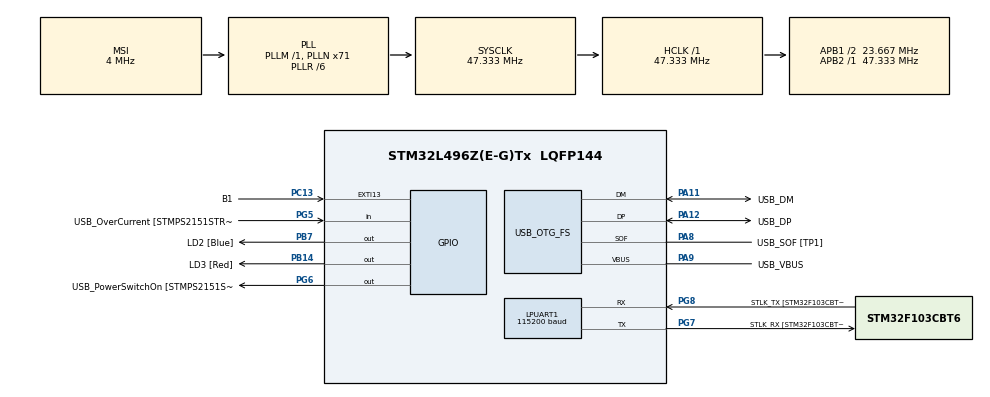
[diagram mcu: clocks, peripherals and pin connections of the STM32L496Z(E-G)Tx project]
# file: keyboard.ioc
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LPUART1.BaudRate=115200
LPUART1.WordLength=UART_WORDLENGTH_8B
Mcu.Family=STM32L4
Mcu.Name=STM32L496Z(E-G)Tx
Mcu.Package=LQFP144
NVIC.EXTI15_10_IRQn=true\:0\:0\:false\:false\:true\:true\:true
NVIC.LPUART1_IRQn=true\:0\:0\:false\:false\:true\:true\:true
NVIC.OTG_FS_IRQn=true\:0\:0\:false\:false\:true\:false\:true
NVIC.PriorityGroup=NVIC_PRIORITYGROUP_4
PA10.GPIO_Label=USB_ID
PA10.Signal=USB_OTG_FS_ID
PA11.GPIO_Label=USB_DM
PA11.Mode=Host_Only
PA11.Signal=USB_OTG_FS_DM
PA12.GPIO_Label=USB_DP
PA12.Mode=Host_Only
PA12.Signal=USB_OTG_FS_DP
PA13\ (JTMS/SWDIO).GPIO_Label=TMS
PA13\ (JTMS/SWDIO).Mode=Trace_Asynchronous_SW
PA13\ (JTMS/SWDIO).Signal=SYS_JTMS-SWDIO
PA14\ (JTCK/SWCLK).GPIO_Label=TCK
PA14\ (JTCK/SWCLK).Mode=Trace_Asynchronous_SW
PA14\ (JTCK/SWCLK).Signal=SYS_JTCK-SWCLK
PA8.GPIO_Label=USB_SOF [TP1]
PA8.Mode=Activate_SOF_FS
PA8.Signal=USB_OTG_FS_SOF
PA9.GPIO_Label=USB_VBUS
PA9.Mode=Activate_VBUS
PA9.Signal=USB_OTG_FS_VBUS
PB14.GPIO_Label=LD3 [Red]
PB14.Signal=GPIO_Output
PB3\ (JTDO/TRACESWO).GPIO_Label=SWO
PB3\ (JTDO/TRACESWO).Mode=Trace_Asynchronous_SW
PB3\ (JTDO/TRACESWO).Signal=SYS_JTDO-SWO
PB7.GPIO_Label=LD2 [Blue]
PB7.Signal=GPIO_Output
PC13.GPIO_Label=B1
PC13.Signal=GPXTI13
PC14-OSC32_IN\ (PC14).Mode=LSE-External-Oscillator
PC14-OSC32_IN\ (PC14).Signal=RCC_OSC32_IN
PC15-OSC32_OUT\ (PC15).Mode=LSE-External-Oscillator
PC15-OSC32_OUT\ (PC15).Signal=RCC_OSC32_OUT
PG5.GPIO_Label=USB_OverCurrent [STMPS2151STR_FAULT]
PG5.Signal=GPIO_Input
PG6.GPIO_Label=USB_PowerSwitchOn [STMPS2151STR_EN]
PG6.Signal=GPIO_Output
PG7.GPIO_Label=STLK_RX [STM32F103CBT6_PA3]
PG7.Mode=Asynchronous
PG7.Signal=LPUART1_TX
PG8.GPIO_Label=STLK_TX [STM32F103CBT6_PA2]
PG8.Mode=Asynchronous
PG8.Signal=LPUART1_RX
PH1-OSC_OUT\ (PH1).Signal=RCC_OSC_OUT
ProjectManager.HeapSize=0x200
ProjectManager.StackSize=0x400
ProjectManager.TargetToolchain=STM32CubeIDE
RCC.48MHZClocksFreq_Value=24000000
RCC.ADCFreq_Value=48000000
RCC.AHBFreq_Value=47333333.333333336
RCC.APB1CLKDivider=RCC_HCLK_DIV2
RCC.APB1Freq_Value=23666666.666666668
RCC.APB1TimFreq_Value=47333333.333333336
RCC.APB2Freq_Value=47333333.333333336
RCC.APB2TimFreq_Value=47333333.333333336
RCC.CortexFreq_Value=47333333.333333336
RCC.HCLKFreq_Value=47333333.333333336
RCC.HSE_VALUE=8000000
RCC.HSI48_VALUE=48000000
RCC.HSI_VALUE=16000000
RCC.MSI_VALUE=4000000
RCC.PLLMUL=RCC_PLL_MUL9
RCC.PLLN=71
RCC.PLLR=RCC_PLLR_DIV6
RCC.PLLSAI1N=24
RCC.PRESCALERUSB=RCC_USBCLKSOURCE_PLL_DIV1_5
RCC.SYSCLKFreq_VALUE=47333333.333333336
RCC.SYSCLKSource=RCC_SYSCLKSOURCE_PLLCLK
RCC.SYSCLKSourceVirtual=RCC_SYSCLKSOURCE_PLLCLK
RCC.USBFreq_Value=48000000
RCC.VCOOutputFreq_Value=284000000
USB_HOST.BSP.number=1
USB_HOST.USBH_DEBUG_LEVEL=3
USB_HOST.USBH_HandleTypeDef=hUsbHostFS
USB_HOST.VirtualModeFS=Hid
USB_HOST0.BSP.STBoard=false
USB_HOST0.BSP.api=Unknown
USB_HOST0.BSP.i2caddr=0
USB_HOST0.BSP.instance=PG6
USB_HOST0.BSP.ip=GPIO
USB_HOST0.BSP.mode=Output
USB_HOST0.BSP.name=Drive_VBUS_FS
USB_HOST0.BSP.solution=PG6
USB_OTG_FS.VirtualMode=Host_Only
USB_OTG_FS.phy_itface=HCD_PHY_EMBEDDED
VP_USB_HOST_VS_USB_HOST_HID_FS.Mode=HID_FS
board=NUCLEO-L496ZG

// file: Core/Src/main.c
/* USER CODE BEGIN Header */
/**
  ******************************************************************************
  * @file           : main.c
  * @brief          : Main program body
  ******************************************************************************
  * @attention
  *
  * <h2><center>&copy; Copyright (c) 2020 STMicroelectronics.
  * All rights reserved.</center></h2>
  *
  * This software component is licensed by ST under BSD 3-Clause license,
  * the "License"; You may not use this file except in compliance with the
  * License. You may obtain a copy of the License at:
  *                        opensource.org/licenses/BSD-3-Clause
  *
  ******************************************************************************
  */
/* USER CODE END Header */
#include "main.h"
#include "usb_host.h"

/* USER CODE BEGIN Includes */
#include <stdio.h>
#include <ctype.h>
#include "retarget.h"
#include "usbh_def.h"
#include "usbh_hid.h"
/* USER CODE END Includes */

UART_HandleTypeDef hlpuart1;

void SystemClock_Config(void);
static void MX_GPIO_Init(void);
static void MX_LPUART1_UART_Init(void);
void MX_USB_HOST_Process(void);

int main(void)
{

  /* MCU Configuration--------------------------------------------------------*/

  /* Reset of all peripherals, Initializes the Flash interface and the Systick. */
  HAL_Init();

  /* Configure the system clock */
  SystemClock_Config();

  /* Initialize all configured peripherals */
  MX_GPIO_Init();
  MX_LPUART1_UART_Init();
  MX_USB_HOST_Init();
  /* USER CODE BEGIN 2 */
  RetargetInit(&hlpuart1);
  printf("all initialized\n");
  /* USER CODE END 2 */

  /* Infinite loop */
  while (1)
  {
    MX_USB_HOST_Process();

  }
}

void SystemClock_Config(void)
{
  RCC_OscInitTypeDef RCC_OscInitStruct = {0};
  RCC_ClkInitTypeDef RCC_ClkInitStruct = {0};
  RCC_PeriphCLKInitTypeDef PeriphClkInit = {0};

  /** Configure LSE Drive Capability
  */
  HAL_PWR_EnableBkUpAccess();
  __HAL_RCC_LSEDRIVE_CONFIG(RCC_LSEDRIVE_LOW);
  /** Initializes the RCC Oscillators according to the specified parameters
  * in the RCC_OscInitTypeDef structure.
  */
  RCC_OscInitStruct.OscillatorType = RCC_OSCILLATORTYPE_LSE|RCC_OSCILLATORTYPE_MSI;
  RCC_OscInitStruct.LSEState = RCC_LSE_ON;
  RCC_OscInitStruct.MSIState = RCC_MSI_ON;
  RCC_OscInitStruct.MSICalibrationValue = 0;
  RCC_OscInitStruct.MSIClockRange = RCC_MSIRANGE_6;
  RCC_OscInitStruct.PLL.PLLState = RCC_PLL_ON;
  RCC_OscInitStruct.PLL.PLLSource = RCC_PLLSOURCE_MSI;
  RCC_OscInitStruct.PLL.PLLM = 1;
  RCC_OscInitStruct.PLL.PLLN = 71;
  RCC_OscInitStruct.PLL.PLLP = RCC_PLLP_DIV2;
  RCC_OscInitStruct.PLL.PLLQ = RCC_PLLQ_DIV2;
  RCC_OscInitStruct.PLL.PLLR = RCC_PLLR_DIV6;
  if (HAL_RCC_OscConfig(&RCC_OscInitStruct) != HAL_OK)
  {
    Error_Handler();
  }
  /** Initializes the CPU, AHB and APB buses clocks
  */
  RCC_ClkInitStruct.ClockType = RCC_CLOCKTYPE_HCLK|RCC_CLOCKTYPE_SYSCLK
                              |RCC_CLOCKTYPE_PCLK1|RCC_CLOCKTYPE_PCLK2;
  RCC_ClkInitStruct.SYSCLKSource = RCC_SYSCLKSOURCE_PLLCLK;
  RCC_ClkInitStruct.AHBCLKDivider = RCC_SYSCLK_DIV1;
  RCC_ClkInitStruct.APB1CLKDivider = RCC_HCLK_DIV2;
  RCC_ClkInitStruct.APB2CLKDivider = RCC_HCLK_DIV1;

  if (HAL_RCC_ClockConfig(&RCC_ClkInitStruct, FLASH_LATENCY_2) != HAL_OK)
  {
    Error_Handler();
  }
  PeriphClkInit.PeriphClockSelection = RCC_PERIPHCLK_LPUART1|RCC_PERIPHCLK_USB;
  PeriphClkInit.Lpuart1ClockSelection = RCC_LPUART1CLKSOURCE_PCLK1;
  PeriphClkInit.UsbClockSelection = RCC_USBCLKSOURCE_PLLSAI1;
  PeriphClkInit.PLLSAI1.PLLSAI1Source = RCC_PLLSOURCE_MSI;
  PeriphClkInit.PLLSAI1.PLLSAI1M = 1;
  PeriphClkInit.PLLSAI1.PLLSAI1N = 24;
  PeriphClkInit.PLLSAI1.PLLSAI1P = RCC_PLLP_DIV2;
  PeriphClkInit.PLLSAI1.PLLSAI1Q = RCC_PLLQ_DIV2;
  PeriphClkInit.PLLSAI1.PLLSAI1R = RCC_PLLR_DIV2;
  PeriphClkInit.PLLSAI1.PLLSAI1ClockOut = RCC_PLLSAI1_48M2CLK;
  if (HAL_RCCEx_PeriphCLKConfig(&PeriphClkInit) != HAL_OK)
  {
    Error_Handler();
  }
  /** Configure the main internal regulator output voltage
  */
  if (HAL_PWREx_ControlVoltageScaling(PWR_REGULATOR_VOLTAGE_SCALE1) != HAL_OK)
  {
    Error_Handler();
  }
  /** Enable MSI Auto calibration
  */
  HAL_RCCEx_EnableMSIPLLMode();
}

static void MX_LPUART1_UART_Init(void)
{

  hlpuart1.Instance = LPUART1;
  hlpuart1.Init.BaudRate = 115200;
  hlpuart1.Init.WordLength = UART_WORDLENGTH_8B;
  hlpuart1.Init.StopBits = UART_STOPBITS_1;
  hlpuart1.Init.Parity = UART_PARITY_NONE;
  hlpuart1.Init.Mode = UART_MODE_TX_RX;
  hlpuart1.Init.HwFlowCtl = UART_HWCONTROL_NONE;
  hlpuart1.Init.OneBitSampling = UART_ONE_BIT_SAMPLE_DISABLE;
  hlpuart1.AdvancedInit.AdvFeatureInit = UART_ADVFEATURE_NO_INIT;
  if (HAL_UART_Init(&hlpuart1) != HAL_OK)
  {
    Error_Handler();
  }

}

static void MX_GPIO_Init(void)
{
  GPIO_InitTypeDef GPIO_InitStruct = {0};

  /* GPIO Ports Clock Enable */
  __HAL_RCC_GPIOC_CLK_ENABLE();
  __HAL_RCC_GPIOH_CLK_ENABLE();
  __HAL_RCC_GPIOB_CLK_ENABLE();
  __HAL_RCC_GPIOG_CLK_ENABLE();
  HAL_PWREx_EnableVddIO2();
  __HAL_RCC_GPIOA_CLK_ENABLE();

  /*Configure GPIO pin Output Level */
  HAL_GPIO_WritePin(GPIOB, LD3_Pin|LD2_Pin, GPIO_PIN_RESET);

  /*Configure GPIO pin Output Level */
  HAL_GPIO_WritePin(USB_PowerSwitchOn_GPIO_Port, USB_PowerSwitchOn_Pin, GPIO_PIN_RESET);

  /*Configure GPIO pin : B1_Pin */
  GPIO_InitStruct.Pin = B1_Pin;
  GPIO_InitStruct.Mode = GPIO_MODE_IT_RISING;
  GPIO_InitStruct.Pull = GPIO_NOPULL;
  HAL_GPIO_Init(B1_GPIO_Port, &GPIO_InitStruct);

  /*Configure GPIO pins : LD3_Pin LD2_Pin */
  GPIO_InitStruct.Pin = LD3_Pin|LD2_Pin;
  GPIO_InitStruct.Mode = GPIO_MODE_OUTPUT_PP;
  GPIO_InitStruct.Pull = GPIO_NOPULL;
  GPIO_InitStruct.Speed = GPIO_SPEED_FREQ_LOW;
  HAL_GPIO_Init(GPIOB, &GPIO_InitStruct);

  /*Configure GPIO pin : USB_OverCurrent_Pin */
  GPIO_InitStruct.Pin = USB_OverCurrent_Pin;
  GPIO_InitStruct.Mode = GPIO_MODE_INPUT;
  GPIO_InitStruct.Pull = GPIO_NOPULL;
  HAL_GPIO_Init(USB_OverCurrent_GPIO_Port, &GPIO_InitStruct);

  /*Configure GPIO pin : USB_PowerSwitchOn_Pin */
  GPIO_InitStruct.Pin = USB_PowerSwitchOn_Pin;
  GPIO_InitStruct.Mode = GPIO_MODE_OUTPUT_PP;
  GPIO_InitStruct.Pull = GPIO_NOPULL;
  GPIO_InitStruct.Speed = GPIO_SPEED_FREQ_LOW;
  HAL_GPIO_Init(USB_PowerSwitchOn_GPIO_Port, &GPIO_InitStruct);

  /* EXTI interrupt init*/
  HAL_NVIC_SetPriority(EXTI15_10_IRQn, 0, 0);
  HAL_NVIC_EnableIRQ(EXTI15_10_IRQn);

}

/* USER CODE BEGIN 4 */
void USBH_HID_EventCallback(USBH_HandleTypeDef *phost)
{
//  printf("all initialized\n");
  if (USBH_HID_GetDeviceType(phost) == HID_KEYBOARD) {
    HID_KEYBD_Info_TypeDef* ki = USBH_HID_GetKeybdInfo(phost);

#if 1
    printf("s = 0x%02X, lc = 0x%02X, ls = 0x%02X, la = 0x%02X, lg = 0x%02X, rc = 0x%02X, rs = 0x%02X, ra = 0x%02X, rg = 0x%02X, k0 = 0x%02X, k1 = 0x%02X, k1 = 0x%02X, k2 = 0x%02X, k3 = 0x%02X, k4 = 0x%02X, k5 = 0x%02X\n",
    (int)ki->state, (int)ki->lctrl, (int)ki->lshift, (int)ki->lalt, (int)ki->lgui, (int)ki->rctrl, (int)ki->rshift, (int)ki->ralt,
    (int)ki->rgui, (int)ki->keys[0], (int)ki->keys[1], (int)ki->keys[2], (int)ki->keys[3], (int)ki->keys[4], (int)ki->keys[5]);
#else
    char key = USBH_HID_GetASCIICode (ki);
    printf("Key Pressed = %c 0x%02X\n", isprint(key) ? key : '.', (int)key);
#endif
  }
}
/* USER CODE END 4 */

void Error_Handler(void)
{
}

/************************ (C) COPYRIGHT STMicroelectronics *****END OF FILE****/
